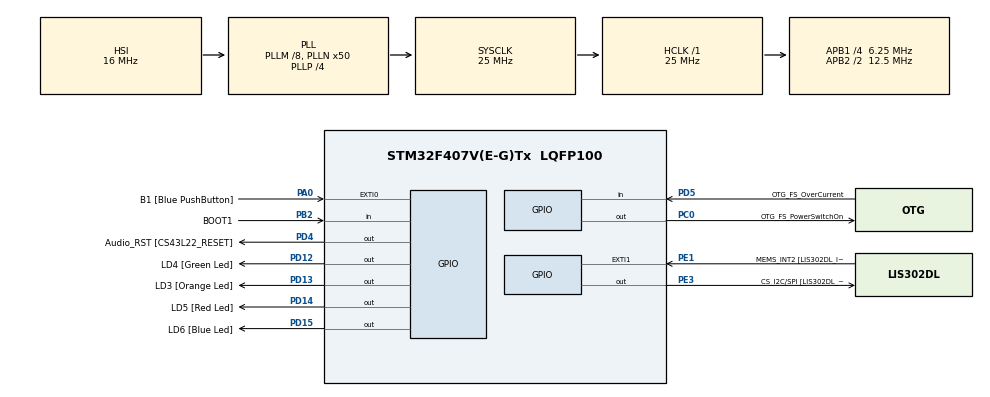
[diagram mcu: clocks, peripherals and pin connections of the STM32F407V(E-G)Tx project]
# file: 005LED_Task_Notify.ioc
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Mcu.Family=STM32F4
PA11.GPIO_Speed=GPIO_SPEED_FREQ_LOW
PC3.GPIO_Mode=GPIO_MODE_AF_PP
PD12.GPIO_Label=LD4 [Green Led]
PH0-OSC_IN.Signal=RCC_OSC_IN
VP_SYS_VS_tim6.Mode=TIM6
RCC.CortexFreq_Value=25000000
PC10.GPIO_PuPd=GPIO_NOPULL
PB10.GPIO_Speed=GPIO_SPEED_FREQ_LOW
PB6.GPIO_Mode=GPIO_MODE_AF_OD
PB10.GPIO_PuPd=GPIO_NOPULL
NVIC.TIM6_DAC_IRQn=true\:0\:0\:false\:false\:true\:false\:true
PA10.GPIO_PuPd=GPIO_NOPULL
PD15.GPIO_Speed=GPIO_SPEED_FREQ_LOW
PC10.Signal=I2S3_CK
PC12.Signal=I2S3_SD
PA14.GPIO_Label=SWCLK
PA7.GPIO_Mode=GPIO_MODE_AF_PP
PC0.GPIO_Label=OTG_FS_PowerSwitchOn
PA6.GPIO_Label=SPI1_MISO [LIS302DL_SDO]
PB6.GPIO_Label=Audio_SCL [CS43L22_SCL]
PC10.GPIO_Speed=GPIO_SPEED_FREQ_LOW
PA11.GPIO_PuPd=GPIO_NOPULL
PC15-OSC32_OUT.GPIO_Label=PC15-OSC32_OUT
PC3.GPIO_Speed=GPIO_SPEED_FREQ_LOW
RCC.SYSCLKSource=RCC_SYSCLKSOURCE_PLLCLK
ProjectManager.StackSize=0x400
PA6.GPIO_Mode=GPIO_MODE_AF_PP
PD13.Signal=GPIO_Output
PD14.GPIO_Speed=GPIO_SPEED_FREQ_LOW
PA12.Signal=USB_OTG_FS_DP
RCC.HCLKFreq_Value=25000000
PD4.Signal=GPIO_Output
RCC.APB2TimFreq_Value=25000000
PB6.Signal=I2C1_SCL
PC7.Signal=I2S3_MCK
PC3.Signal=I2S2_SD
PE1.Signal=GPXTI1
RCC.AHBFreq_Value=25000000
PH0-OSC_IN.GPIO_Label=PH0-OSC_IN
PA9.GPIO_Mode=GPIO_MODE_INPUT
RCC.HSE_VALUE=8000000
PA4.GPIO_PuPd=GPIO_NOPULL
PB2.Signal=GPIO_Input
PA4.GPIO_Speed=GPIO_SPEED_FREQ_LOW
PA6.GPIO_PuPd=GPIO_NOPULL
PA5.GPIO_PuPd=GPIO_NOPULL
PA10.GPIO_Label=OTG_FS_ID
PC7.GPIO_Mode=GPIO_MODE_AF_PP
PD5.GPIO_Mode=GPIO_MODE_INPUT
PD14.GPIO_PuPd=GPIO_NOPULL
PB2.GPIO_PuPd=GPIO_NOPULL
PD13.GPIO_Label=LD3 [Orange Led]
Mcu.Package=LQFP100
PB9.Signal=I2C1_SDA
PA6.Signal=SPI1_MISO
NVIC.TimeBase=TIM6_DAC_IRQn
PD12.Signal=GPIO_Output
PD5.GPIO_Label=OTG_FS_OverCurrent
PD15.GPIO_PuPd=GPIO_NOPULL
NVIC.TimeBaseIP=TIM6
PA10.Signal=USB_OTG_FS_ID
PB9.GPIO_PuPd=GPIO_NOPULL
PA10.GPIO_Speed=GPIO_SPEED_FREQ_LOW
RCC.APB2CLKDivider=RCC_HCLK_DIV2
PB9.GPIO_Speed=GPIO_SPEED_FREQ_LOW
RCC.APB1TimFreq_Value=12500000
PC14-OSC32_IN.GPIO_Label=PC14-OSC32_IN
PC12.GPIO_PuPd=GPIO_NOPULL
PA6.GPIO_Speed=GPIO_SPEED_FREQ_LOW
PC0.GPIO_PuPd=GPIO_NOPULL
PA12.GPIO_PuPd=GPIO_NOPULL
PA4.GPIO_Label=I2S3_WS [CS43L22_LRCK]
PD15.Signal=GPIO_Output
PC0.PinState=GPIO_PIN_SET
PA12.GPIO_Speed=GPIO_SPEED_FREQ_LOW
PB3.GPIO_Label=SWO
PD12.GPIO_Speed=GPIO_SPEED_FREQ_LOW
PD15.GPIO_Label=LD6 [Blue Led]
PB9.GPIO_Label=Audio_SDA [CS43L22_SDA]
PC10.GPIO_Label=I2S3_SCK [CS43L22_SCLK]
PA9.GPIO_Label=VBUS_FS
PB6.GPIO_PuPd=GPIO_NOPULL
PA11.GPIO_Label=OTG_FS_DM
PE1.GPIO_PuPd=GPIO_NOPULL
PD5.Signal=GPIO_Input
PC0.Signal=GPIO_Output
PE1.GPIO_ModeDefaultEXTI=GPIO_MODE_EVT_RISING
RCC.APB1CLKDivider=RCC_HCLK_DIV4
PC14-OSC32_IN.Signal=RCC_OSC32_IN
PA9.GPIO_PuPd=GPIO_NOPULL
PA12.GPIO_Label=OTG_FS_DP
PA0-WKUP.GPIO_Label=B1 [Blue PushButton]
PA0-WKUP.Signal=GPXTI0
PA10.GPIO_Mode=GPIO_MODE_AF_PP
PA13.Signal=SYS_JTMS-SWDIO
PC10.GPIO_Mode=GPIO_MODE_AF_PP
PD4.GPIO_PuPd=GPIO_NOPULL
PC0.GPIO_Speed=GPIO_SPEED_FREQ_LOW
PB10.GPIO_Mode=GPIO_MODE_AF_PP
ProjectManager.TargetToolchain=STM32CubeIDE
PB10.GPIO_Label=CLK_IN [MP45DT02_CLK]
PA9.Signal=USB_OTG_FS_VBUS
PC7.GPIO_PuPd=GPIO_NOPULL
RCC.LSE_VALUE=32768
PC15-OSC32_OUT.Signal=RCC_OSC32_OUT
PA7.GPIO_PuPd=GPIO_NOPULL
PB10.Signal=I2S2_CK
PA5.Signal=SPI1_SCK
board=STM32F407G-DISC1
PD13.GPIO_Speed=GPIO_SPEED_FREQ_LOW
PC7.GPIO_Speed=GPIO_SPEED_FREQ_LOW
RCC.VCOOutputFreq_Value=100000000
PE1.GPIO_Label=MEMS_INT2 [LIS302DL_INT2]
PA7.GPIO_Speed=GPIO_SPEED_FREQ_LOW
PB9.GPIO_Mode=GPIO_MODE_AF_OD
PA12.GPIO_Mode=GPIO_MODE_AF_PP
PA4.GPIO_Mode=GPIO_MODE_AF_PP
RCC.APB2Freq_Value=12500000
PB2.GPIO_Mode=GPIO_MODE_INPUT
PD4.GPIO_Label=Audio_RST [CS43L22_RESET]
PD4.GPIO_Speed=GPIO_SPEED_FREQ_LOW
PE3.GPIO_PuPd=GPIO_NOPULL
PH1-OSC_OUT.Signal=RCC_OSC_OUT
PD13.GPIO_PuPd=GPIO_NOPULL
PD5.GPIO_PuPd=GPIO_NOPULL
PD14.GPIO_Label=LD5 [Red Led]
PH1-OSC_OUT.GPIO_Label=PH1-OSC_OUT
Mcu.Name=STM32F407V(E-G)Tx
PA13.GPIO_Label=SWDIO
PC7.GPIO_Label=I2S3_MCK [CS43L22_MCLK]
PD14.Signal=GPIO_Output
RCC.48MHZClocksFreq_Value=14285714.285714285
PB3.Signal=SYS_JTDO-SWO
PA4.Signal=I2S3_WS
RCC.SYSCLKFreq_VALUE=25000000
PC12.GPIO_Mode=GPIO_MODE_AF_PP
PA7.GPIO_Label=SPI1_MOSI [LIS302DL_SDA/SDI/SDO]
PA5.GPIO_Label=SPI1_SCK [LIS302DL_SCL/SPC]
PE3.GPIO_Speed=GPIO_SPEED_FREQ_LOW
PC12.GPIO_Label=I2S3_SD [CS43L22_SDIN]
PA11.Signal=USB_OTG_FS_DM
PA14.Signal=SYS_JTCK-SWCLK
PB2.GPIO_Label=BOOT1
ProjectManager.HeapSize=0x200
RCC.HSI_VALUE=16000000
RCC.PLLP=RCC_PLLP_DIV4
PA5.GPIO_Speed=GPIO_SPEED_FREQ_LOW
RCC.PLLQ=7
NVIC.PriorityGroup=NVIC_PRIORITYGROUP_4
RCC.PLLM=8
RCC.PLLN=50
PE3.Signal=GPIO_Output
PE3.GPIO_Label=CS_I2C/SPI [LIS302DL_CS_I2C/SPI]
PC3.GPIO_Label=PDM_OUT [MP45DT02_DOUT]
PA11.GPIO_Mode=GPIO_MODE_AF_PP
PB6.GPIO_Speed=GPIO_SPEED_FREQ_LOW
RCC.APB1Freq_Value=6250000
PA5.GPIO_Mode=GPIO_MODE_AF_PP
PC12.GPIO_Speed=GPIO_SPEED_FREQ_LOW
PC3.GPIO_PuPd=GPIO_NOPULL
PD12.GPIO_PuPd=GPIO_NOPULL
PA7.Signal=SPI1_MOSI

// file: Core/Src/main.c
/* USER CODE BEGIN Header */
/**
  ******************************************************************************
  * @file           : main.c
  * @brief          : Main program body
  ******************************************************************************
  * @attention
  *
  * <h2><center>&copy; Copyright (c) 2022 STMicroelectronics.
  * All rights reserved.</center></h2>
  *
  * This software component is licensed by ST under BSD 3-Clause license,
  * the "License"; You may not use this file except in compliance with the
  * License. You may obtain a copy of the License at:
  *                        opensource.org/licenses/BSD-3-Clause
  *
  ******************************************************************************
  */
/* USER CODE END Header */
#include "main.h"

/* USER CODE BEGIN Includes */
#include <stdio.h>
#include "FreeRTOS.h"
#include "task.h"
/* USER CODE END Includes */

/* USER CODE BEGIN PM */
#define DWT_CTRL (*(volatile uint32_t*)0xE0001000)

/* USER CODE END PM */

void SystemClock_Config(void);
static void MX_GPIO_Init(void);
/* USER CODE BEGIN PFP */
static void led_green_handler(void* parameters);
static void led_red_handler(void* parameters);
static void led_orange_handler(void* parameters);
static void button_handler(void* parameters);

TaskHandle_t task1_handle;

TaskHandle_t task2_handle;

TaskHandle_t task3_handle;

TaskHandle_t button_handle;

TaskHandle_t volatile next_task_handle = NULL;
/* USER CODE END PFP */

int main(void)
{
  /* USER CODE BEGIN 1 */
	BaseType_t status;
  /* USER CODE END 1 */

  /* MCU Configuration--------------------------------------------------------*/

  /* Reset of all peripherals, Initializes the Flash interface and the Systick. */
  HAL_Init();

  /* Configure the system clock */
  SystemClock_Config();

  /* Initialize all configured peripherals */
  MX_GPIO_Init();
  /* USER CODE BEGIN 2 */

  // Enable the CYCCNT Counter

    DWT_CTRL |= (1 << 0);

    SEGGER_SYSVIEW_Conf();

    SEGGER_SYSVIEW_Start();

    status = xTaskCreate(led_green_handler, "LED_Green_Task", 200, NULL, 3, &task1_handle);

    configASSERT(status == pdPASS);

    next_task_handle = task1_handle;

    status = xTaskCreate(led_red_handler, "LED_Red_Task", 200, NULL, 2, &task3_handle);

    configASSERT(status == pdPASS);

    status = xTaskCreate(led_orange_handler, "LED_Orange_Task", 200, NULL, 1, &task2_handle);

    configASSERT(status == pdPASS);

    status = xTaskCreate(button_handler, "Button Task", 200, NULL, 4, &button_handle);

    configASSERT(status == pdPASS);

    //starting freeRTOS scheduler
    vTaskStartScheduler();

  /* USER CODE END 2 */

  /* Infinite loop */
  while (1)
  {

  }
}

void SystemClock_Config(void)
{
  RCC_OscInitTypeDef RCC_OscInitStruct = {0};
  RCC_ClkInitTypeDef RCC_ClkInitStruct = {0};

  /** Configure the main internal regulator output voltage
  */
  __HAL_RCC_PWR_CLK_ENABLE();
  __HAL_PWR_VOLTAGESCALING_CONFIG(PWR_REGULATOR_VOLTAGE_SCALE1);
  /** Initializes the RCC Oscillators according to the specified parameters
  * in the RCC_OscInitTypeDef structure.
  */
  RCC_OscInitStruct.OscillatorType = RCC_OSCILLATORTYPE_HSI;
  RCC_OscInitStruct.HSIState = RCC_HSI_ON;
  RCC_OscInitStruct.HSICalibrationValue = RCC_HSICALIBRATION_DEFAULT;
  RCC_OscInitStruct.PLL.PLLState = RCC_PLL_ON;
  RCC_OscInitStruct.PLL.PLLSource = RCC_PLLSOURCE_HSI;
  RCC_OscInitStruct.PLL.PLLM = 8;
  RCC_OscInitStruct.PLL.PLLN = 50;
  RCC_OscInitStruct.PLL.PLLP = RCC_PLLP_DIV4;
  RCC_OscInitStruct.PLL.PLLQ = 7;
  if (HAL_RCC_OscConfig(&RCC_OscInitStruct) != HAL_OK)
  {
    Error_Handler();
  }
  /** Initializes the CPU, AHB and APB buses clocks
  */
  RCC_ClkInitStruct.ClockType = RCC_CLOCKTYPE_HCLK|RCC_CLOCKTYPE_SYSCLK
                              |RCC_CLOCKTYPE_PCLK1|RCC_CLOCKTYPE_PCLK2;
  RCC_ClkInitStruct.SYSCLKSource = RCC_SYSCLKSOURCE_PLLCLK;
  RCC_ClkInitStruct.AHBCLKDivider = RCC_SYSCLK_DIV1;
  RCC_ClkInitStruct.APB1CLKDivider = RCC_HCLK_DIV4;
  RCC_ClkInitStruct.APB2CLKDivider = RCC_HCLK_DIV2;

  if (HAL_RCC_ClockConfig(&RCC_ClkInitStruct, FLASH_LATENCY_0) != HAL_OK)
  {
    Error_Handler();
  }
}

static void MX_GPIO_Init(void)
{
  GPIO_InitTypeDef GPIO_InitStruct = {0};

  /* GPIO Ports Clock Enable */
  __HAL_RCC_GPIOE_CLK_ENABLE();
  __HAL_RCC_GPIOC_CLK_ENABLE();
  __HAL_RCC_GPIOH_CLK_ENABLE();
  __HAL_RCC_GPIOA_CLK_ENABLE();
  __HAL_RCC_GPIOB_CLK_ENABLE();
  __HAL_RCC_GPIOD_CLK_ENABLE();

  /*Configure GPIO pin Output Level */
  HAL_GPIO_WritePin(CS_I2C_SPI_GPIO_Port, CS_I2C_SPI_Pin, GPIO_PIN_RESET);

  /*Configure GPIO pin Output Level */
  HAL_GPIO_WritePin(OTG_FS_PowerSwitchOn_GPIO_Port, OTG_FS_PowerSwitchOn_Pin, GPIO_PIN_SET);

  /*Configure GPIO pin Output Level */
  HAL_GPIO_WritePin(GPIOD, LD4_Pin|LD3_Pin|LD5_Pin|LD6_Pin
                          |Audio_RST_Pin, GPIO_PIN_RESET);

  /*Configure GPIO pin : CS_I2C_SPI_Pin */
  GPIO_InitStruct.Pin = CS_I2C_SPI_Pin;
  GPIO_InitStruct.Mode = GPIO_MODE_OUTPUT_PP;
  GPIO_InitStruct.Pull = GPIO_NOPULL;
  GPIO_InitStruct.Speed = GPIO_SPEED_FREQ_LOW;
  HAL_GPIO_Init(CS_I2C_SPI_GPIO_Port, &GPIO_InitStruct);

  /*Configure GPIO pin : OTG_FS_PowerSwitchOn_Pin */
  GPIO_InitStruct.Pin = OTG_FS_PowerSwitchOn_Pin;
  GPIO_InitStruct.Mode = GPIO_MODE_OUTPUT_PP;
  GPIO_InitStruct.Pull = GPIO_NOPULL;
  GPIO_InitStruct.Speed = GPIO_SPEED_FREQ_LOW;
  HAL_GPIO_Init(OTG_FS_PowerSwitchOn_GPIO_Port, &GPIO_InitStruct);

  /*Configure GPIO pin : PDM_OUT_Pin */
  GPIO_InitStruct.Pin = PDM_OUT_Pin;
  GPIO_InitStruct.Mode = GPIO_MODE_AF_PP;
  GPIO_InitStruct.Pull = GPIO_NOPULL;
  GPIO_InitStruct.Speed = GPIO_SPEED_FREQ_LOW;
  GPIO_InitStruct.Alternate = GPIO_AF5_SPI2;
  HAL_GPIO_Init(PDM_OUT_GPIO_Port, &GPIO_InitStruct);

  /*Configure GPIO pin : B1_Pin */
  GPIO_InitStruct.Pin = B1_Pin;
  GPIO_InitStruct.Mode = GPIO_MODE_IT_RISING;
  GPIO_InitStruct.Pull = GPIO_NOPULL;
  HAL_GPIO_Init(B1_GPIO_Port, &GPIO_InitStruct);

  /*Configure GPIO pin : I2S3_WS_Pin */
  GPIO_InitStruct.Pin = I2S3_WS_Pin;
  GPIO_InitStruct.Mode = GPIO_MODE_AF_PP;
  GPIO_InitStruct.Pull = GPIO_NOPULL;
  GPIO_InitStruct.Speed = GPIO_SPEED_FREQ_LOW;
  GPIO_InitStruct.Alternate = GPIO_AF6_SPI3;
  HAL_GPIO_Init(I2S3_WS_GPIO_Port, &GPIO_InitStruct);

  /*Configure GPIO pins : SPI1_SCK_Pin SPI1_MISO_Pin SPI1_MOSI_Pin */
  GPIO_InitStruct.Pin = SPI1_SCK_Pin|SPI1_MISO_Pin|SPI1_MOSI_Pin;
  GPIO_InitStruct.Mode = GPIO_MODE_AF_PP;
  GPIO_InitStruct.Pull = GPIO_NOPULL;
  GPIO_InitStruct.Speed = GPIO_SPEED_FREQ_LOW;
  GPIO_InitStruct.Alternate = GPIO_AF5_SPI1;
  HAL_GPIO_Init(GPIOA, &GPIO_InitStruct);

  /*Configure GPIO pin : BOOT1_Pin */
  GPIO_InitStruct.Pin = BOOT1_Pin;
  GPIO_InitStruct.Mode = GPIO_MODE_INPUT;
  GPIO_InitStruct.Pull = GPIO_NOPULL;
  HAL_GPIO_Init(BOOT1_GPIO_Port, &GPIO_InitStruct);

  /*Configure GPIO pin : CLK_IN_Pin */
  GPIO_InitStruct.Pin = CLK_IN_Pin;
  GPIO_InitStruct.Mode = GPIO_MODE_AF_PP;
  GPIO_InitStruct.Pull = GPIO_NOPULL;
  GPIO_InitStruct.Speed = GPIO_SPEED_FREQ_LOW;
  GPIO_InitStruct.Alternate = GPIO_AF5_SPI2;
  HAL_GPIO_Init(CLK_IN_GPIO_Port, &GPIO_InitStruct);

  /*Configure GPIO pins : LD4_Pin LD3_Pin LD5_Pin LD6_Pin
                           Audio_RST_Pin */
  GPIO_InitStruct.Pin = LD4_Pin|LD3_Pin|LD5_Pin|LD6_Pin
                          |Audio_RST_Pin;
  GPIO_InitStruct.Mode = GPIO_MODE_OUTPUT_PP;
  GPIO_InitStruct.Pull = GPIO_NOPULL;
  GPIO_InitStruct.Speed = GPIO_SPEED_FREQ_LOW;
  HAL_GPIO_Init(GPIOD, &GPIO_InitStruct);

  /*Configure GPIO pins : I2S3_MCK_Pin I2S3_SCK_Pin I2S3_SD_Pin */
  GPIO_InitStruct.Pin = I2S3_MCK_Pin|I2S3_SCK_Pin|I2S3_SD_Pin;
  GPIO_InitStruct.Mode = GPIO_MODE_AF_PP;
  GPIO_InitStruct.Pull = GPIO_NOPULL;
  GPIO_InitStruct.Speed = GPIO_SPEED_FREQ_LOW;
  GPIO_InitStruct.Alternate = GPIO_AF6_SPI3;
  HAL_GPIO_Init(GPIOC, &GPIO_InitStruct);

  /*Configure GPIO pin : VBUS_FS_Pin */
  GPIO_InitStruct.Pin = VBUS_FS_Pin;
  GPIO_InitStruct.Mode = GPIO_MODE_INPUT;
  GPIO_InitStruct.Pull = GPIO_NOPULL;
  HAL_GPIO_Init(VBUS_FS_GPIO_Port, &GPIO_InitStruct);

  /*Configure GPIO pins : OTG_FS_ID_Pin OTG_FS_DM_Pin OTG_FS_DP_Pin */
  GPIO_InitStruct.Pin = OTG_FS_ID_Pin|OTG_FS_DM_Pin|OTG_FS_DP_Pin;
  GPIO_InitStruct.Mode = GPIO_MODE_AF_PP;
  GPIO_InitStruct.Pull = GPIO_NOPULL;
  GPIO_InitStruct.Speed = GPIO_SPEED_FREQ_LOW;
  GPIO_InitStruct.Alternate = GPIO_AF10_OTG_FS;
  HAL_GPIO_Init(GPIOA, &GPIO_InitStruct);

  /*Configure GPIO pin : OTG_FS_OverCurrent_Pin */
  GPIO_InitStruct.Pin = OTG_FS_OverCurrent_Pin;
  GPIO_InitStruct.Mode = GPIO_MODE_INPUT;
  GPIO_InitStruct.Pull = GPIO_NOPULL;
  HAL_GPIO_Init(OTG_FS_OverCurrent_GPIO_Port, &GPIO_InitStruct);

  /*Configure GPIO pins : Audio_SCL_Pin Audio_SDA_Pin */
  GPIO_InitStruct.Pin = Audio_SCL_Pin|Audio_SDA_Pin;
  GPIO_InitStruct.Mode = GPIO_MODE_AF_OD;
  GPIO_InitStruct.Pull = GPIO_PULLUP;
  GPIO_InitStruct.Speed = GPIO_SPEED_FREQ_LOW;
  GPIO_InitStruct.Alternate = GPIO_AF4_I2C1;
  HAL_GPIO_Init(GPIOB, &GPIO_InitStruct);

  /*Configure GPIO pin : MEMS_INT2_Pin */
  GPIO_InitStruct.Pin = MEMS_INT2_Pin;
  GPIO_InitStruct.Mode = GPIO_MODE_EVT_RISING;
  GPIO_InitStruct.Pull = GPIO_NOPULL;
  HAL_GPIO_Init(MEMS_INT2_GPIO_Port, &GPIO_InitStruct);

}

/* USER CODE BEGIN 4 */

static void led_green_handler(void* parameters)
{
	BaseType_t status;
	while(1)
	{
		HAL_GPIO_TogglePin(GPIOD, LED_GREEN_PIN);
		status = xTaskNotifyWait(0,0,NULL,pdMS_TO_TICKS(1000));
		if(status == pdTRUE)
		{
			vTaskSuspendAll();
			next_task_handle = task2_handle;
			xTaskResumeAll();
			HAL_GPIO_WritePin(GPIOD, LED_GREEN_PIN, GPIO_PIN_SET);

			vTaskDelete(NULL);
		}
	}

}

static void led_red_handler(void* parameters)
{
	BaseType_t status;
		while(1)
		{
			HAL_GPIO_TogglePin(GPIOD, LED_RED_PIN);
			status = xTaskNotifyWait(0,0,NULL,pdMS_TO_TICKS(400));
			if(status == pdTRUE)
			{
				vTaskSuspendAll();
				next_task_handle = NULL;
				xTaskResumeAll();
				HAL_GPIO_WritePin(GPIOD, LED_RED_PIN, GPIO_PIN_SET);
				vTaskDelete(button_handle);
				vTaskDelete(NULL);
			}
		}
}
static void led_orange_handler(void* parameters)
{
	BaseType_t status;
		while(1)
		{
			HAL_GPIO_TogglePin(GPIOD, LED_ORANGE_PIN);
			status = xTaskNotifyWait(0,0,NULL,pdMS_TO_TICKS(800));
			if(status == pdTRUE)
			{
				vTaskSuspendAll();
				next_task_handle = task3_handle;
				xTaskResumeAll();
				HAL_GPIO_WritePin(GPIOD, LED_ORANGE_PIN, GPIO_PIN_SET);

				vTaskDelete(NULL);
			}
		}
}

static void button_handler(void* parameters)
{
	uint8_t button_read = 0;
	uint8_t previous_read = 0;
	while(1)
	{
		button_read = HAL_GPIO_ReadPin(GPIOA, GPIO_PIN_0);
		if(button_read)
		{
			if(!previous_read)
				xTaskNotify(next_task_handle, 0, eNoAction);
		}
		previous_read = button_read;
		vTaskDelay(pdMS_TO_TICKS(10));
	}

}

/* USER CODE END 4 */

 /**
  * @brief  Period elapsed callback in non blocking mode
  * @note   This function is called  when TIM6 interrupt took place, inside
  * HAL_TIM_IRQHandler(). It makes a direct call to HAL_IncTick() to increment
  * a global variable "uwTick" used as application time base.
  * @param  htim : TIM handle
  * @retval None
  */
void HAL_TIM_PeriodElapsedCallback(TIM_HandleTypeDef *htim)
{
  if (htim->Instance == TIM6) {
    HAL_IncTick();
  }
}

void Error_Handler(void)
{
  __disable_irq();
  while (1)
  {
  }
}

/************************ (C) COPYRIGHT STMicroelectronics *****END OF FILE****/
